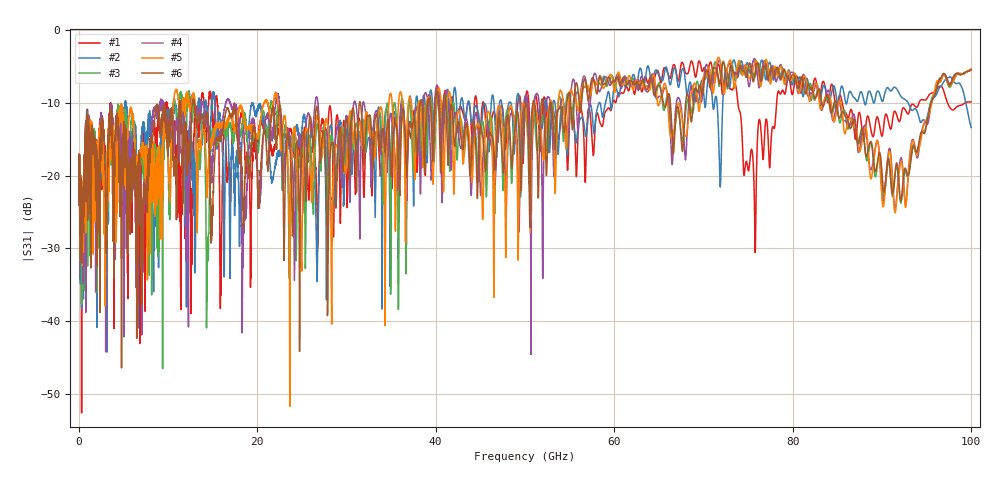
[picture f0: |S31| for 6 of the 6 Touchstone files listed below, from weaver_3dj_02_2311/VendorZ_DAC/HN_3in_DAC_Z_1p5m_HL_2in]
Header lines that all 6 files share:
# GHz S RI R 45
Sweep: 25 MHz to 100 GHz
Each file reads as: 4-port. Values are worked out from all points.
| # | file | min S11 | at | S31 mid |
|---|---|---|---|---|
| 1 | HN_3in_DAC_Z_1p5m_HL_2in_FEXT_TP0_Tx5_to_TP5_Rx7.s4p | -42.4 dB | 11.55 GHz | -10.7 dB at 50.02 GHz |
| 2 | HN_3in_DAC_Z_1p5m_HL_2in_FEXT_TP0_Tx6_to_TP5_Rx7.s4p | -43.5 dB | 2.375 GHz | -9.2 dB at 50.02 GHz |
| 3 | HN_3in_DAC_Z_1p5m_HL_2in_FEXT_TP0_Tx8_to_TP5_Rx7.s4p | -48.8 dB | 24.62 GHz | -11.3 dB at 50.02 GHz |
| 4 | HN_3in_DAC_Z_1p5m_HL_2in_NEXT_TP0_Tx7_to_TP5_Rx7.s4p | -58.7 dB | 98.67 GHz | -9.1 dB at 50.02 GHz |
| 5 | HN_3in_DAC_Z_1p5m_HL_2in_NEXT_TP0_Tx8_to_TP5_Tx7.s4p | -51.0 dB | 600 MHz | -10.7 dB at 50.02 GHz |
| 6 | HN_3in_DAC_Z_1p5m_HL_2in_thru_TP0_Tx7_to_TP5_Rx7.s4p | -45.3 dB | 98.67 GHz | -10.4 dB at 50.02 GHz |
